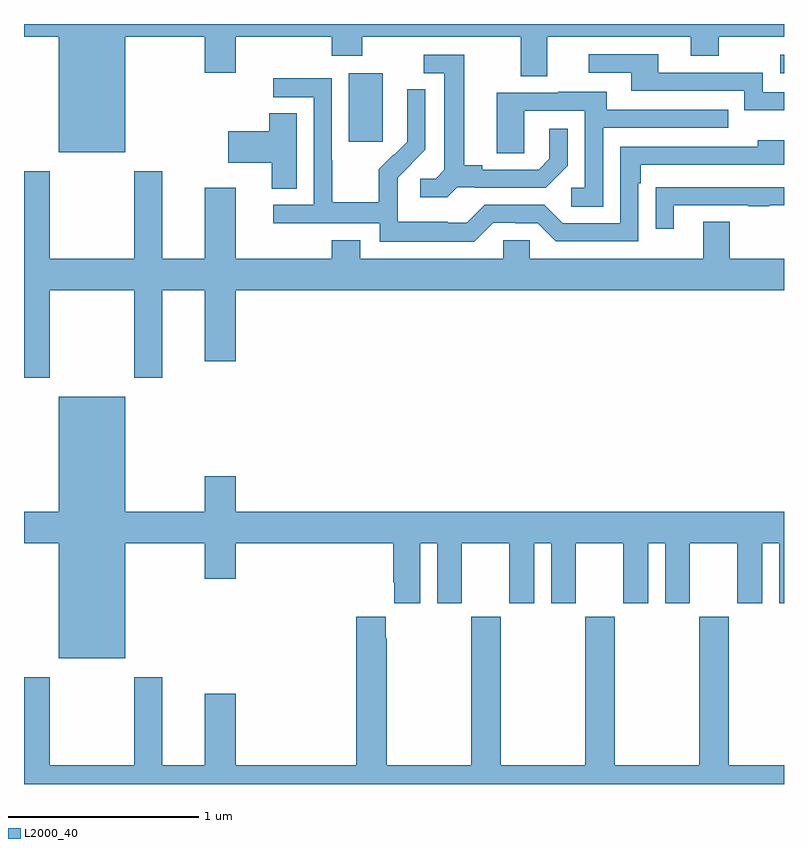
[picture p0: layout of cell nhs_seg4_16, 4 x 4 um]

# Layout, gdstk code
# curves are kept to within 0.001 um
import gdstk
lib = gdstk.Library(unit=1e-6, precision=1e-09)
def R(c, l, rs):  # rectangles x0, y0, x1, y1
    for r in rs: c.add(gdstk.rectangle(r[:2], r[2:], *l))
def P(c, l, *ps):  # polygons
    for p in ps: c.add(gdstk.Polygon(p, *l))
L2000_40 = (2000, 40)

nhs_seg4_16 = lib.new_cell('nhs_seg4_16')
R(nhs_seg4_16, L2000_40, [(112.709,784.281,112.888,784.642), (114.981,784.641,115,784.737)])
P(nhs_seg4_16, L2000_40, [(111.532,784.832),(111.95,784.832),(111.95,784.644),(112.114,784.644),(112.114,784.832),(112.619,784.832),(112.619,784.733),(112.779,784.733),(112.779,784.832),(113.615,784.832),(113.615,784.624),(113.755,784.624),(113.755,784.832),(114.509,784.832),(114.509,784.733),(114.657,784.733),(114.657,784.832),(115,784.832),(115,784.9),(111,784.9),(111,784.832),(111.182,784.832),(111.182,784.226),(111.532,784.226)],
  [(115,784.542),(114.888,784.542),(114.888,784.644),(114.337,784.644),(114.337,784.74),(113.973,784.74),(113.973,784.644),(114.197,784.644),(114.197,784.548),(114.792,784.548),(114.792,784.445),(115,784.445)],
  [(113.28,784.041),(113.374,784.041),(113.374,784.038),(113.746,784.038),(113.862,784.154),(113.862,784.348),(113.765,784.348),(113.765,784.191),(113.708,784.134),(113.413,784.134),(113.413,784.157),(113.317,784.157),(113.317,784.737),(113.103,784.737),(113.103,784.641),(113.213,784.641),(113.213,784.133),(113.166,784.086),(113.085,784.086),(113.085,783.989),(113.228,783.989)],
  [(113.469,783.855),(113.585,783.855),(113.585,783.852),(113.703,783.852),(113.799,783.756),(114.234,783.756),(114.234,784.061),(114.247,784.061),(114.247,784.158),(115,784.158),(115,784.288),(114.863,784.288),(114.863,784.254),(114.138,784.254),(114.138,783.852),(113.835,783.852),(113.739,783.948),(113.424,783.948),(113.331,783.855),(113.231,783.855),(113.231,783.859),(112.968,783.859),(112.968,783.993),(112.966,783.993),(112.966,784.09),(113.112,784.238),(113.112,784.556),(113.016,784.556),(113.016,784.402),(113.018,784.402),(113.018,784.28),(112.947,784.209),(112.944,784.212),(112.867,784.135),(112.867,783.961),(112.623,783.961),(112.623,784.184),(112.62,784.184),(112.62,784.614),(112.311,784.614),(112.311,784.515),(112.524,784.515),(112.524,783.948),(112.311,783.948),(112.311,783.852),(112.872,783.852),(112.872,783.755),(113.369,783.755)],
  [(114.048,784.353),(114.707,784.353),(114.707,784.449),(114.067,784.449),(114.067,784.543),(113.813,784.543),(113.813,784.539),(113.489,784.539),(113.489,784.219),(113.634,784.219),(113.634,784.443),(113.952,784.443),(113.952,784.038),(113.88,784.038),(113.88,783.937),(114.048,783.937)],
  [(112.435,784.43),(112.292,784.43),(112.292,784.335),(112.074,784.335),(112.074,784.169),(112.304,784.169),(112.304,784.033),(112.435,784.033)],
  [(111.135,783.5),(111.58,783.5),(111.58,783.039),(111.727,783.039),(111.727,783.5),(111.95,783.5),(111.95,783.126),(112.114,783.126),(112.114,783.5),(115,783.5),(115,783.664),(114.715,783.664),(114.715,783.859),(114.575,783.859),(114.575,783.664),(113.661,783.664),(113.661,783.762),(113.523,783.762),(113.523,783.664),(112.771,783.664),(112.771,783.763),(112.619,783.763),(112.619,783.664),(112.114,783.664),(112.114,784.039),(111.95,784.039),(111.95,783.664),(111.727,783.664),(111.727,784.126),(111.58,784.126),(111.58,783.664),(111.135,783.664),(111.135,784.126),(111,784.126),(111,783.039),(111.135,783.039)],
  [(114.421,783.945),(114.811,783.945),(114.811,783.94),(114.923,783.94),(114.923,783.945),(115,783.945),(115,784.041),(114.427,784.041),(114.427,784.04),(114.325,784.04),(114.325,783.822),(114.421,783.822)],
  [(111.532,782.168),(111.95,782.168),(111.95,781.98),(112.114,781.98),(112.114,782.168),(112.943,782.168),(112.943,781.963),(112.949,781.963),(112.949,781.851),(113.086,781.851),(113.086,782.168),(113.174,782.168),(113.174,781.851),(113.305,781.851),(113.305,782.168),(113.555,782.168),(113.555,781.851),(113.686,781.851),(113.686,782.168),(113.774,782.168),(113.774,781.851),(113.905,781.851),(113.905,782.168),(114.155,782.168),(114.155,781.851),(114.286,781.851),(114.286,782.168),(114.374,782.168),(114.374,781.851),(114.505,781.851),(114.505,782.168),(114.755,782.168),(114.755,781.851),(114.886,781.851),(114.886,782.168),(114.974,782.168),(114.974,781.851),(115,781.851),(115,782.332),(112.114,782.332),(112.114,782.521),(111.95,782.521),(111.95,782.332),(111.532,782.332),(111.532,782.938),(111.182,782.938),(111.182,782.332),(111,782.332),(111,782.168),(111.182,782.168),(111.182,781.562),(111.532,781.562)],
  [(115,781),(114.708,781),(114.708,781.78),(114.553,781.78),(114.553,781),(114.108,781),(114.108,781.78),(113.953,781.78),(113.953,781),(113.508,781),(113.508,781.78),(113.353,781.78),(113.353,781),(112.908,781),(112.908,781.667),(112.903,781.667),(112.903,781.78),(112.748,781.78),(112.748,781),(112.114,781),(112.114,781.375),(111.95,781.375),(111.95,781),(111.727,781),(111.727,781.462),(111.58,781.462),(111.58,781),(111.135,781),(111.135,781.462),(111,781.462),(111,780.9),(115,780.9)])

lib.write_gds('nhs_seg4_16.gds')
